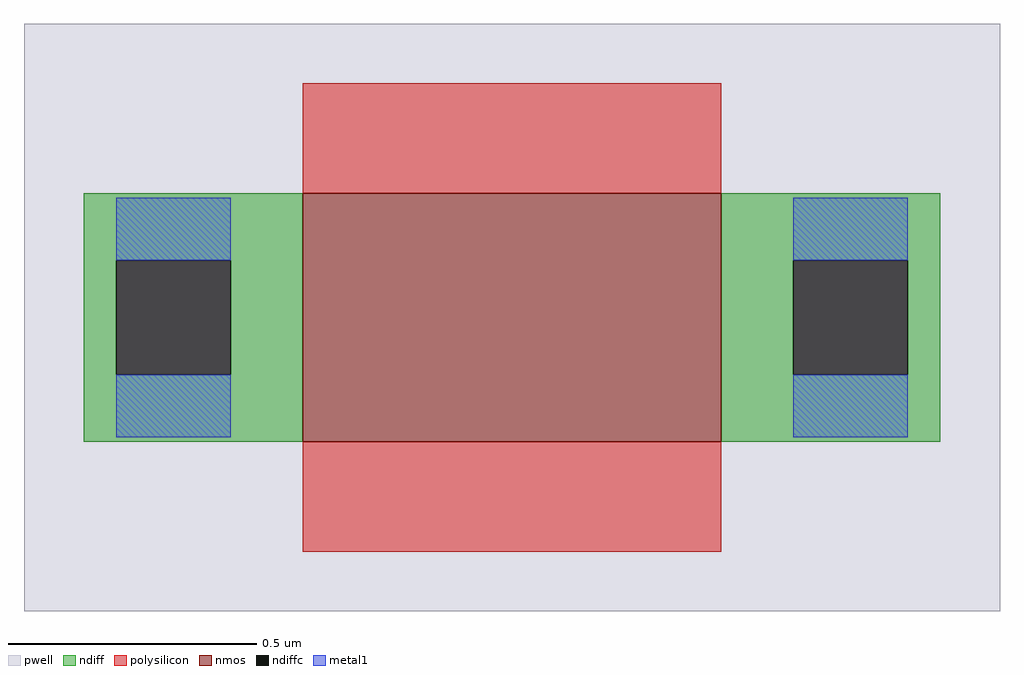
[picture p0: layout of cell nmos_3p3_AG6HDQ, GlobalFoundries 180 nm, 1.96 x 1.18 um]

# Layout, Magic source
magic
tech gf180mcuD
magscale 1 10
<< pwell >>
rect -196 -118 196 118
<< nmos >>
rect -84 -50 84 50
<< ndiff >>
rect -172 23 -84 50
rect -172 -23 -159 23
rect -113 -23 -84 23
rect -172 -50 -84 -23
rect 84 23 172 50
rect 84 -23 113 23
rect 159 -23 172 23
rect 84 -50 172 -23
<< ndiffc >>
rect -159 -23 -113 23
rect 113 -23 159 23
<< polysilicon >>
rect -84 50 84 94
rect -84 -94 84 -50
<< metal1 >>
rect -159 23 -113 48
rect -159 -48 -113 -23
rect 113 23 159 48
rect 113 -48 159 -23
<< end >>
